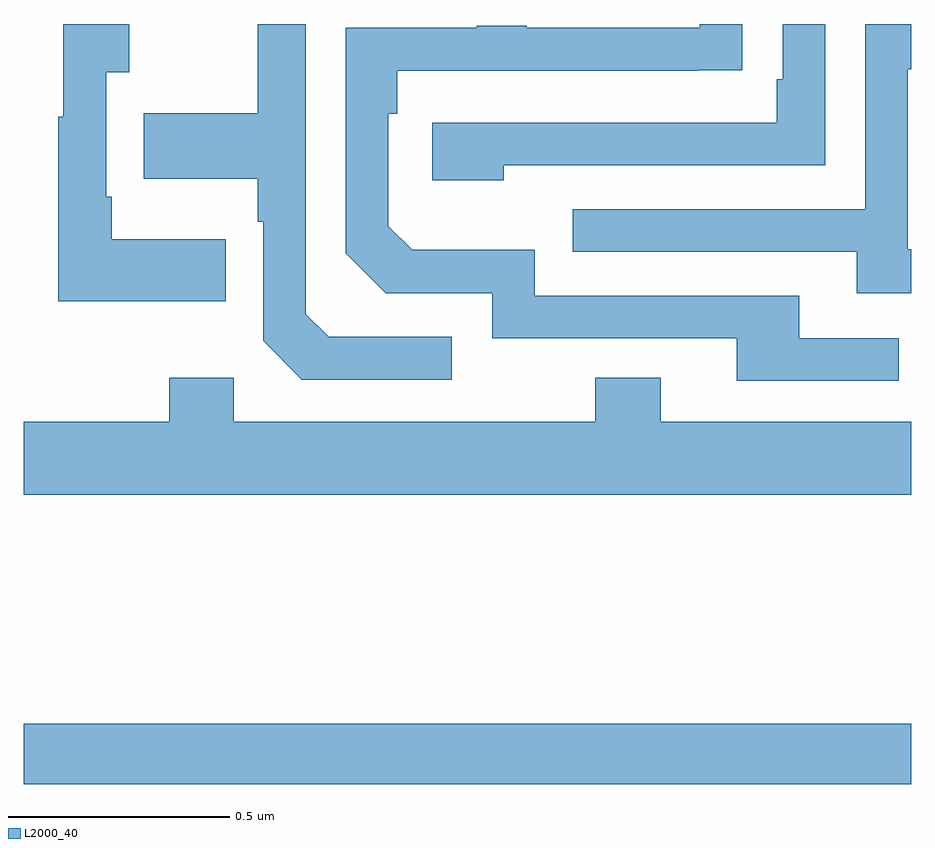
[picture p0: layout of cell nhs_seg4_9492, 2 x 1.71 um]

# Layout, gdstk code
import gdstk
lib = gdstk.Library(unit=1e-6, precision=1e-09)
def R(c, l, rs):  # rectangles x0, y0, x1, y1
    for r in rs: c.add(gdstk.rectangle(r[:2], r[2:], *l))
def P(c, l, *ps):  # polygons
    for p in ps: c.add(gdstk.Polygon(p, *l))
L2000_40 = (2000, 40)

nhs_seg4_9492 = lib.new_cell('nhs_seg4_9492')
R(nhs_seg4_9492, L2000_40, [(228,776.188,230,776.324)])
P(nhs_seg4_9492, L2000_40, [(229.972,777.192),(229.747,777.192),(229.747,777.288),(229.152,777.288),(229.152,777.391),(228.875,777.391),(228.822,777.444),(228.822,777.698),(228.842,777.698),(228.842,777.795),(229.517,777.795),(229.517,777.796),(229.619,777.796),(229.619,777.9),(229.523,777.9),(229.523,777.891),(229.133,777.891),(229.133,777.896),(229.021,777.896),(229.021,777.891),(228.726,777.891),(228.726,777.384),(228.816,777.294),(229.056,777.294),(229.056,777.192),(229.607,777.192),(229.607,777.096),(229.972,777.096)],
  [(228.455,777.415),(228.199,777.415),(228.199,777.511),(228.186,777.511),(228.186,777.791),(228.238,777.791),(228.238,777.9),(228.089,777.9),(228.089,777.691),(228.078,777.691),(228.078,777.275),(228.455,777.275)],
  [(228.964,777.195),(228.687,777.195),(228.636,777.246),(228.636,777.9),(228.528,777.9),(228.528,777.699),(228.271,777.699),(228.271,777.551),(228.528,777.551),(228.528,777.455),(228.54,777.455),(228.54,777.186),(228.627,777.099),(228.964,777.099)],
  [(229.082,777.582),(229.806,777.582),(229.806,777.9),(229.71,777.9),(229.71,777.775),(229.697,777.775),(229.697,777.678),(228.921,777.678),(228.921,777.548),(229.082,777.548)],
  [(230,777.393),(229.992,777.393),(229.992,777.798),(230,777.798),(230,777.899),(229.896,777.899),(229.896,777.483),(229.237,777.483),(229.237,777.387),(229.877,777.387),(229.877,777.293),(230,777.293)],
  [(230,777.004),(229.435,777.004),(229.435,777.103),(229.288,777.103),(229.288,777.004),(228.474,777.004),(228.474,777.103),(228.328,777.103),(228.328,777.004),(228,777.004),(228,776.84),(230,776.84)])

lib.write_gds('nhs_seg4_9492.gds')
